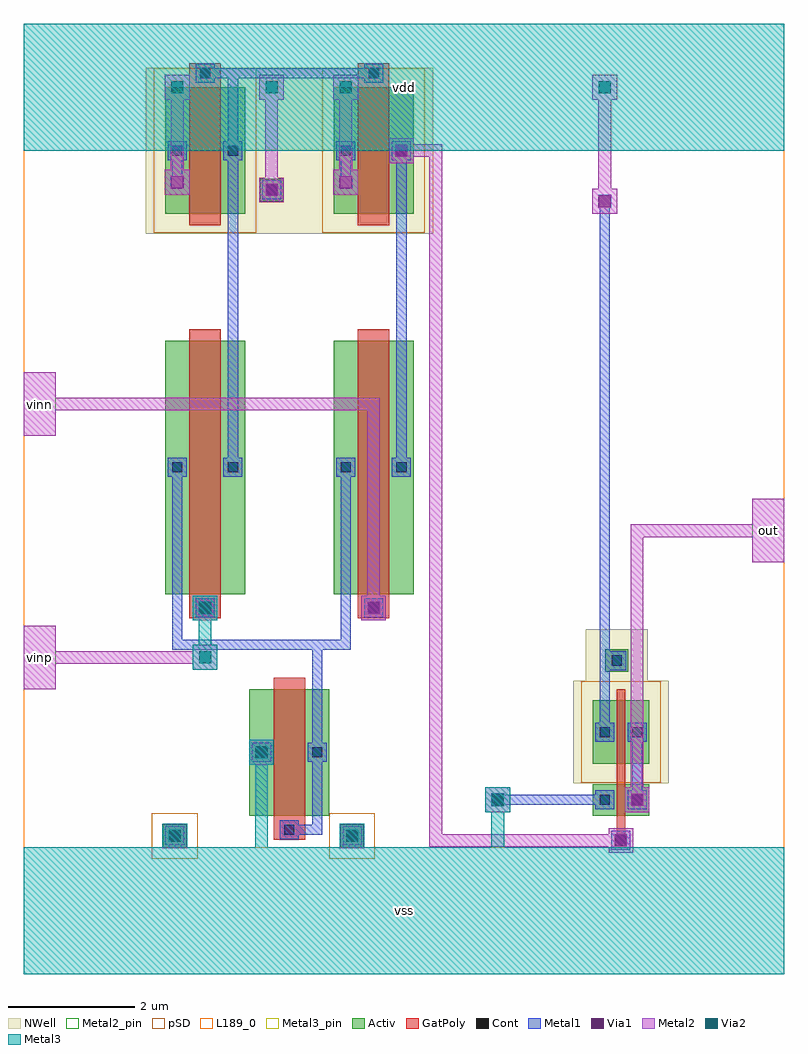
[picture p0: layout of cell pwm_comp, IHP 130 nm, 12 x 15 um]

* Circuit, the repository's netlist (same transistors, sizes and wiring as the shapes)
** sch_path: /data/Projects/tiny_workspace/xschem/pwm_comp.sch
.subckt pwm_comp vinp vinn out vdd vss
*.PININFO vdd:B vss:B vinp:I vinn:I out:O
XXM3 mirr mirr vdd vdd sg13_lv_pmos w=2e-6 l=0.5e-6 ng=1
XXM4 ota_o mirr vdd vdd sg13_lv_pmos w=2e-6 l=0.5e-6 ng=1
XXM1 mirr vinp tail vss sg13_lv_nmos w=4e-6 l=0.5e-6 ng=1
XXM2 ota_o vinn tail vss sg13_lv_nmos w=4e-6 l=0.5e-6 ng=1
XXM5 tail tail vss vss sg13_lv_nmos w=2e-6 l=0.5e-6 ng=1
XXM7 out ota_o vdd vdd sg13_lv_pmos w=1e-6 l=0.13e-6 ng=1
XXM6 out ota_o vss vss sg13_lv_nmos w=0.5e-6 l=0.13e-6 ng=1
.ends

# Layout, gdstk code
import gdstk
lib = gdstk.Library(unit=1e-6, precision=1e-09)
def R(c, l, rs):  # rectangles x0, y0, x1, y1
    for r in rs: c.add(gdstk.rectangle(r[:2], r[2:], *l))
Activ = (1, 0)
GatPoly = (5, 0)
Cont = (6, 0)
Metal1 = (8, 0)
Metal2 = (10, 0)
Metal2_pin = (10, 2)
pSD = (14, 0)
Via1 = (19, 0)
Via2 = (29, 0)
Metal3 = (30, 0)
Metal3_pin = (30, 2)
NWell = (31, 0)
L189_0 = (189, 0)

pwm_comp = lib.new_cell('pwm_comp')
R(pwm_comp, Activ, [(2.2,2,2.56,2.36), (5,2,5.36,2.36), (3.56,2.5,4.82,4.5), (8.98,2.5,9.87,3), (8.98,3.32,9.87,4.32), (9.18,4.77,9.54,5.13), (2.23,6,3.49,10), (4.89,6,6.15,10), (2.23,12,3.49,14), (4.89,12,6.15,14), (3.73,12.2,4.09,12.56)])
R(pwm_comp, GatPoly, [(3.94,2.12,4.44,2.32), (9.36,2.13,9.49,2.32), (3.94,2.32,4.44,4.68), (9.36,2.32,9.49,3.18), (9.36,3.14,9.49,4.5), (2.61,5.62,3.11,5.82), (5.27,5.62,5.77,5.82), (2.61,5.82,3.11,10.18), (5.27,5.82,5.77,10.18), (2.61,11.82,3.11,14.18), (5.27,11.82,5.77,14.18), (2.61,14.18,3.11,14.38), (5.27,14.18,5.77,14.38)])
R(pwm_comp, Cont, [(9.345,2.03,9.505,2.19), (2.3,2.1,2.46,2.26), (5.1,2.1,5.26,2.26), (4.11,2.2,4.27,2.36), (9.09,2.67,9.25,2.83), (9.6,2.67,9.76,2.83), (3.67,3.42,3.83,3.58), (4.55,3.42,4.71,3.58), (9.09,3.74,9.25,3.9), (9.6,3.74,9.76,3.9), (9.28,4.87,9.44,5.03), (2.78,5.7,2.94,5.86), (5.44,5.7,5.6,5.86), (2.34,7.92,2.5,8.08), (3.22,7.92,3.38,8.08), (5,7.92,5.16,8.08), (5.88,7.92,6.04,8.08), (3.83,12.3,3.99,12.46), (2.34,12.92,2.5,13.08), (3.22,12.92,3.38,13.08), (5,12.92,5.16,13.08), (5.88,12.92,6.04,13.08), (2.78,14.14,2.94,14.3), (5.44,14.14,5.6,14.3)])
R(pwm_comp, Metal1, [(9.275,1.96,9.575,2.26), (9.32,2.005,9.53,2.215), (2.23,2.03,2.53,2.33), (5.03,2.03,5.33,2.33), (2.275,2.075,2.485,2.285), (5.075,2.075,5.285,2.285), (4.04,2.13,4.34,2.43), (4.11,2.2,4.71,2.36), (4.55,2.2,4.71,3.58), (9.02,2.6,9.32,2.9), (9.53,2.6,9.83,2.9), (7.375,2.645,7.585,2.855), (9.575,2.645,9.785,2.855), (7.4,2.67,9.25,2.83), (9.6,2.67,9.76,3.9), (3.6,3.35,3.9,3.65), (4.48,3.35,4.78,3.65), (3.645,3.395,3.855,3.605), (4.55,3.42,4.71,5.28), (9.02,3.67,9.32,3.97), (9.53,3.67,9.83,3.97), (9.09,3.74,9.25,12.2), (9.21,4.8,9.51,5.1), (9.09,4.87,9.44,5.03), (2.34,5.12,2.5,8.08), (2.34,5.12,5.16,5.28), (5,5.12,5.16,8.08), (2.71,5.63,3.01,5.93), (5.37,5.63,5.67,5.93), (2.755,5.675,2.965,5.885), (5.415,5.675,5.625,5.885), (2.27,7.85,2.57,8.15), (3.15,7.85,3.45,8.15), (4.93,7.85,5.23,8.15), (5.81,7.85,6.11,8.15), (3.22,7.92,3.38,13.08), (5.88,7.92,6.04,13.08), (9.065,12.095,9.275,12.305), (3.76,12.23,4.06,12.53), (3.805,12.275,4.015,12.485), (2.315,12.395,2.525,12.605), (4.975,12.395,5.185,12.605), (2.34,12.5,2.5,12.92), (5,12.5,5.16,12.92), (2.27,12.85,2.57,13.15), (3.15,12.85,3.45,13.15), (4.93,12.85,5.23,13.15), (5.81,12.85,6.11,13.15), (5.855,12.895,6.065,13.105), (3.22,13.08,3.38,14.14), (2.71,14.07,3.01,14.37), (5.37,14.07,5.67,14.37), (2.78,14.14,5.6,14.3)])
R(pwm_comp, Metal2, [(9.23,1.915,9.62,2.305), (2.185,1.985,2.575,2.375), (2.185,1.985,2.575,2.375), (4.985,1.985,5.375,2.375), (4.985,1.985,5.375,2.375), (6.4,2.01,6.6,13.1), (6.4,2.01,9.525,2.21), (7.285,2.555,7.675,2.945), (7.285,2.555,7.675,2.945), (9.485,2.555,9.875,2.945), (9.58,2.65,9.78,7.1), (3.555,3.305,3.945,3.695), (3.555,3.305,3.945,3.695), (0,4.5,0.5,5.5), (2.665,4.805,3.055,5.195), (0,4.9,2.96,5.1), (2.665,5.585,3.055,5.975), (2.665,5.585,3.055,5.975), (5.325,5.585,5.715,5.975), (5.42,5.68,5.62,9.1), (11.5,6.5,12,7.5), (9.58,6.9,12,7.1), (0,8.5,0.5,9.5), (0,8.9,5.62,9.1), (8.975,12.005,9.365,12.395), (9.07,12.1,9.27,14.1), (3.715,12.185,4.105,12.575), (3.81,12.28,4.01,14.1), (2.225,12.305,2.615,12.695), (4.885,12.305,5.275,12.695), (2.32,12.4,2.52,14.1), (4.98,12.4,5.18,14.1), (5.765,12.805,6.155,13.195), (5.86,12.9,6.6,13.1), (2.225,13.805,2.615,14.195), (3.715,13.805,4.105,14.195), (4.885,13.805,5.275,14.195), (8.975,13.805,9.365,14.195)])
R(pwm_comp, Metal2_pin, [(0,4.5,0.5,5.5), (11.5,6.5,12,7.5), (0,8.5,0.5,9.5)])
R(pwm_comp, pSD, [(2.02,1.82,2.74,2.54), (4.82,1.82,5.54,2.54), (8.8,3.02,10.05,4.62), (2.05,11.7,3.67,14.3), (4.71,11.7,6.33,14.3)])
R(pwm_comp, Via1, [(9.33,2.015,9.52,2.205), (2.285,2.085,2.475,2.275), (5.085,2.085,5.275,2.275), (7.385,2.655,7.575,2.845), (9.585,2.655,9.775,2.845), (3.655,3.405,3.845,3.595), (2.765,5.685,2.955,5.875), (5.425,5.685,5.615,5.875), (9.075,12.105,9.265,12.295), (3.815,12.285,4.005,12.475), (2.325,12.405,2.515,12.595), (4.985,12.405,5.175,12.595), (5.865,12.905,6.055,13.095)])
R(pwm_comp, Via2, [(2.285,2.085,2.475,2.275), (5.085,2.085,5.275,2.275), (7.385,2.655,7.575,2.845), (3.655,3.405,3.845,3.595), (2.765,4.905,2.955,5.095), (2.765,5.685,2.955,5.875), (2.325,13.905,2.515,14.095), (3.815,13.905,4.005,14.095), (4.985,13.905,5.175,14.095), (9.075,13.905,9.265,14.095)])
R(pwm_comp, Metal3, [(0,0,12,2), (0,0,12,2), (3.65,0,3.85,3.6), (7.38,0,7.58,2.85), (2.185,1.985,2.575,2.375), (4.985,1.985,5.375,2.375), (7.285,2.555,7.675,2.945), (3.555,3.305,3.945,3.695), (2.665,4.805,3.055,5.195), (2.76,4.9,2.96,5.88), (2.665,5.585,3.055,5.975), (0,13,12,15), (0,13,12,15), (2.225,13.805,2.615,14.195), (3.715,13.805,4.105,14.195), (4.885,13.805,5.275,14.195), (8.975,13.805,9.365,14.195)])
R(pwm_comp, Metal3_pin, [(0,0,12,2), (0,13,12,15)])
R(pwm_comp, NWell, [(8.67,3.01,10.18,4.63), (8.87,4.46,9.85,5.44), (1.92,11.69,6.46,14.31), (3.42,11.89,4.4,12.87)])
R(pwm_comp, L189_0, [(0,0,12,15)])
pwm_comp.add(gdstk.Label('vinp', (0.25,5), layer=10, texttype=25))
pwm_comp.add(gdstk.Label('vinn', (0.25,9), layer=10, texttype=25))
pwm_comp.add(gdstk.Label('out', (11.75,7), layer=10, texttype=25))
pwm_comp.add(gdstk.Label('vdd', (6,14), layer=30, texttype=25))
pwm_comp.add(gdstk.Label('vss', (6,1), layer=30, texttype=25))

lib.write_gds('pwm_comp.gds')
